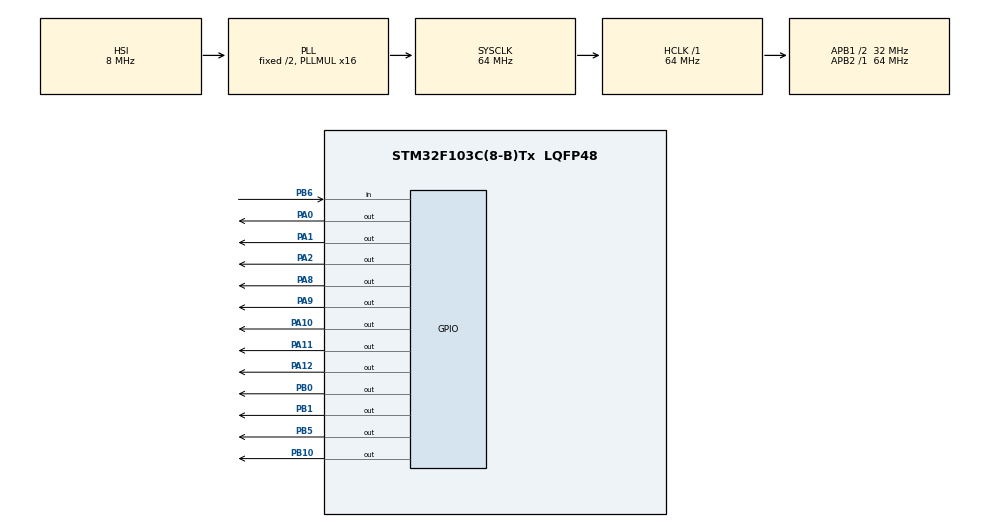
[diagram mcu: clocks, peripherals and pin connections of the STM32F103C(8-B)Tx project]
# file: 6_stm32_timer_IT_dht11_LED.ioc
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Mcu.Family=STM32F1
Mcu.Name=STM32F103C(8-B)Tx
Mcu.Package=LQFP48
NVIC.PriorityGroup=NVIC_PRIORITYGROUP_4
NVIC.TIM2_IRQn=true\:0\:0\:false\:false\:true\:true\:true\:true
PA0-WKUP.Signal=GPIO_Output
PA1.Signal=GPIO_Output
PA10.Signal=GPIO_Output
PA11.Signal=GPIO_Output
PA12.Signal=GPIO_Output
PA13.Mode=Serial_Wire
PA13.Signal=SYS_JTMS-SWDIO
PA14.Mode=Serial_Wire
PA14.Signal=SYS_JTCK-SWCLK
PA2.Signal=GPIO_Output
PA8.Signal=GPIO_Output
PA9.Signal=GPIO_Output
PB0.Signal=GPIO_Output
PB1.Signal=GPIO_Output
PB10.Signal=GPIO_Output
PB5.GPIO_PuPd=GPIO_PULLUP
PB5.Signal=GPIO_Output
PB6.Signal=GPIO_Input
ProjectManager.HeapSize=0x200
ProjectManager.StackSize=0x400
ProjectManager.TargetToolchain=MDK-ARM V5.32
RCC.AHBFreq_Value=64000000
RCC.APB1CLKDivider=RCC_HCLK_DIV2
RCC.APB1Freq_Value=32000000
RCC.APB1TimFreq_Value=64000000
RCC.APB2Freq_Value=64000000
RCC.APB2TimFreq_Value=64000000
RCC.HCLKFreq_Value=64000000
RCC.PLLMUL=RCC_PLL_MUL16
RCC.SYSCLKFreq_VALUE=64000000
RCC.SYSCLKSource=RCC_SYSCLKSOURCE_PLLCLK
RCC.USBFreq_Value=64000000
TIM2.Prescaler=63
TIM3.Period=999
TIM3.Prescaler=63999
VP_TIM2_VS_ClockSourceINT.Mode=Internal
VP_TIM3_VS_ClockSourceINT.Mode=Internal
board=custom

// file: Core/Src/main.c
/* USER CODE BEGIN Header */
/**
  ******************************************************************************
  * @file           : main.c
  * @brief          : Main program body
  ******************************************************************************
  * @attention
  *
  * Copyright (c) 2026 STMicroelectronics.
  * All rights reserved.
  *
  * This software is licensed under terms that can be found in the LICENSE file
  * in the root directory of this software component.
  * If no LICENSE file comes with this software, it is provided AS-IS.
  *
  ******************************************************************************
  */
/* USER CODE END Header */
#include "main.h"

/* USER CODE BEGIN Includes */
#include "MyLcdLib.h"
#include <stdio.h>
/* USER CODE END Includes */

TIM_HandleTypeDef htim2;
TIM_HandleTypeDef htim3;

void SystemClock_Config(void);
static void MX_GPIO_Init(void);
static void MX_TIM2_Init(void);
static void MX_TIM3_Init(void);

/* USER CODE BEGIN 0 */

void my_delay_us(uint16_t us);
void setPinToGPIO_output(GPIO_TypeDef *port, uint16_t pin);

void my_delay_us(uint16_t us) {
	HAL_TIM_Base_Start(&htim2);

	htim2.Instance->CNT = 0;
	while(htim2.Instance->CNT < us) {
		// waiting
	}

	HAL_TIM_Base_Stop(&htim2);
}

void setPinToGPIO_output(GPIO_TypeDef *port, uint16_t pin) {
	GPIO_InitTypeDef GPIO_InitStruct = {0};

	/*Configure GPIO pin*/
  GPIO_InitStruct.Pin = pin;
  GPIO_InitStruct.Mode = GPIO_MODE_OUTPUT_PP;
  GPIO_InitStruct.Pull = GPIO_PULLUP;
  GPIO_InitStruct.Speed = GPIO_SPEED_FREQ_LOW;
  HAL_GPIO_Init(port, &GPIO_InitStruct);
}

void setPinToGPIO_input(GPIO_TypeDef *port, uint16_t pin) {
	GPIO_InitTypeDef GPIO_InitStruct = {0};

	/*Configure GPIO pin*/
  GPIO_InitStruct.Pin = pin;
  GPIO_InitStruct.Mode = GPIO_MODE_INPUT;
  GPIO_InitStruct.Pull = GPIO_PULLUP;
  HAL_GPIO_Init(port, &GPIO_InitStruct);
}

void DHT11_Start1() {
  setPinToGPIO_output(GPIOB, GPIO_PIN_5);

  HAL_GPIO_WritePin(GPIOB, GPIO_PIN_5, 1);
  HAL_GPIO_WritePin(GPIOB, GPIO_PIN_5, 0); HAL_Delay(20);
	HAL_GPIO_WritePin(GPIOB, GPIO_PIN_5, 1);

  setPinToGPIO_input(GPIOB, GPIO_PIN_5);

  // ============================
  // chua co thuat toan check loi
  // ============================

  while(HAL_GPIO_ReadPin(GPIOB, GPIO_PIN_5) == 1) { } // doi = 0
  while(HAL_GPIO_ReadPin(GPIOB, GPIO_PIN_5) == 0) { } // doi = 1
  while(HAL_GPIO_ReadPin(GPIOB, GPIO_PIN_5) == 1) { } // doi = 0

  // ============================
  // 5bytes (40bits bat dau duoc truyen)
  // ============================

}

uint8_t DHT11_Start(void) {
    uint16_t timeout = 0;

    setPinToGPIO_output(GPIOB, GPIO_PIN_5);
    HAL_GPIO_WritePin(GPIOB, GPIO_PIN_5, 1);
    HAL_GPIO_WritePin(GPIOB, GPIO_PIN_5, 0);
    HAL_Delay(20);
    HAL_GPIO_WritePin(GPIOB, GPIO_PIN_5, 1);

    setPinToGPIO_input(GPIOB, GPIO_PIN_5);

    // Ch? chân PB5 v? 0 (Timeout 100us)
    timeout = 0;
    while(HAL_GPIO_ReadPin(GPIOB, GPIO_PIN_5) == 1) {
        my_delay_us(1);
        if(++timeout > 100) return 0; // Thoát ngay n?u b? k?t
    }

    // Ch? chân PB5 lên 1 (Timeout 100us)
    timeout = 0;
    while(HAL_GPIO_ReadPin(GPIOB, GPIO_PIN_5) == 0) {
        my_delay_us(1);
        if(++timeout > 100) return 0; // Thoát ngay n?u b? k?t
    }

    // Ch? chân PB5 v? 0 d? b?t d?u nh?n d? li?u (Timeout 100us)
    timeout = 0;
    while(HAL_GPIO_ReadPin(GPIOB, GPIO_PIN_5) == 1) {
        my_delay_us(1);
        if(++timeout > 100) return 0; // Thoát ngay n?u b? k?t
    }

    return 1; // Kh?i t?o thành công
}

uint8_t DHT11_Read_byte1() {
  uint8_t res = 0;

  for(int i = 0; i < 8; ++i) {
    while(HAL_GPIO_ReadPin(GPIOB, GPIO_PIN_5) == 0) {};
    my_delay_us(50);
    if(HAL_GPIO_ReadPin(GPIOB, GPIO_PIN_5) == 1) {
      // bit 1
      res = (res << 1) | (1 << 0);
			while(HAL_GPIO_ReadPin(GPIOB, GPIO_PIN_5) == 1) {};
    } else {
      // bit 0
      res = (res << 1) & ~(1 << 0);
    }
  }

  return res;
}

uint8_t DHT11_Read_byte(void) {
    uint8_t res = 0;

    for(int i = 0; i < 8; ++i) {
        uint16_t timeout = 0;

        // Ch? tín hi?u lên 1
        while(HAL_GPIO_ReadPin(GPIOB, GPIO_PIN_5) == 0) {
            my_delay_us(1);
            if(++timeout > 100) break;
        }

        my_delay_us(50);

        if(HAL_GPIO_ReadPin(GPIOB, GPIO_PIN_5) == 1) {
            res = (res << 1) | 1;

            // Ch? tín hi?u v? 0
            timeout = 0;
            while(HAL_GPIO_ReadPin(GPIOB, GPIO_PIN_5) == 1) {
                my_delay_us(1);
                if(++timeout > 100) break;
            }
        } else {
            res = (res << 1);
        }
    }

    return res;
}

volatile uint8_t int_Tem = 0
          , int_Hum = 0
          , float_Tem = 0
          , float_Hum = 0
          , checkSum = 0;

void DHT11_Handler1() {
  DHT11_Start();

  // Data format:
  //          8bit integral RH data
  //        + 8bit decimal RH data
  //        + 8bit integral T data
  //        + 8bit decimal T data
  //        + 8bit check sum.

  int_Hum   = DHT11_Read_byte();
  float_Hum = DHT11_Read_byte();
  int_Tem   = DHT11_Read_byte();
  float_Tem = DHT11_Read_byte();
  checkSum  = DHT11_Read_byte();

}

void DHT11_Handler(void) {
    // Ch? d?c d? li?u khi DHT11 ph?n h?i thành công (tr? v? 1)
    if (DHT11_Start() == 1) {
        int_Hum   = DHT11_Read_byte();
        float_Hum = DHT11_Read_byte();
        int_Tem   = DHT11_Read_byte();
        float_Tem = DHT11_Read_byte();
        checkSum  = DHT11_Read_byte();
    }
}

// Ham xu ly ngat tu dong khi TIM3 dem het thoi gian (ARR)
void HAL_TIM_PeriodElapsedCallback(TIM_HandleTypeDef *htim)
{
    if (htim->Instance == TIM3)
    {
        // Viet code thuc thi dinh ky khi ngat tai day
        // Vi du: Dao trang thai 1 chan GPIO hoac tang bien dem
    }
}

/* USER CODE END 0 */

int main(void)
{

  /* MCU Configuration--------------------------------------------------------*/

  /* Reset of all peripherals, Initializes the Flash interface and the Systick. */
  HAL_Init();

  /* Configure the system clock */
  SystemClock_Config();

  /* Initialize all configured peripherals */
  MX_GPIO_Init();
  MX_TIM2_Init();
  MX_TIM3_Init();
  /* USER CODE BEGIN 2 */

	// Bat Ngat Timer 3
  HAL_TIM_Base_Start_IT(&htim3);

	LCD_Config_t myLcd = {
    {GPIOA, GPIO_PIN_0},
    {GPIOA, GPIO_PIN_1},
    {GPIOA, GPIO_PIN_2},
    {GPIOA, GPIO_PIN_8},
    {GPIOA, GPIO_PIN_9},
    {GPIOA, GPIO_PIN_10},
    {GPIOA, GPIO_PIN_11},
    {GPIOA, GPIO_PIN_12},
    {GPIOB, GPIO_PIN_0},
    {GPIOB, GPIO_PIN_1},
    {GPIOB, GPIO_PIN_10}
  };

	LCD_init(&myLcd);

	char ndoStr[16];
	char dAmStr[16];

  /* USER CODE END 2 */

  /* Infinite loop */
  while (1)
  {

    /* USER CODE BEGIN 3 */

		DHT11_Handler();

		sprintf(ndoStr, "NDo: %u.%u C  ", int_Tem, float_Tem);
    sprintf(dAmStr, "DAm: %u.%u %%  ", int_Hum, float_Hum);

		LCD_SetCursor(&myLcd, 0, 0);
    LCD_Print(&myLcd, ndoStr);

		LCD_SetCursor(&myLcd, 1, 0);
    LCD_Print(&myLcd, dAmStr);

		HAL_Delay(1000);

  }
  /* USER CODE END 3 */
}

void SystemClock_Config(void)
{
  RCC_OscInitTypeDef RCC_OscInitStruct = {0};
  RCC_ClkInitTypeDef RCC_ClkInitStruct = {0};

  /** Initializes the RCC Oscillators according to the specified parameters
  * in the RCC_OscInitTypeDef structure.
  */
  RCC_OscInitStruct.OscillatorType = RCC_OSCILLATORTYPE_HSI;
  RCC_OscInitStruct.HSIState = RCC_HSI_ON;
  RCC_OscInitStruct.HSICalibrationValue = RCC_HSICALIBRATION_DEFAULT;
  RCC_OscInitStruct.PLL.PLLState = RCC_PLL_ON;
  RCC_OscInitStruct.PLL.PLLSource = RCC_PLLSOURCE_HSI_DIV2;
  RCC_OscInitStruct.PLL.PLLMUL = RCC_PLL_MUL16;
  if (HAL_RCC_OscConfig(&RCC_OscInitStruct) != HAL_OK)
  {
    Error_Handler();
  }

  /** Initializes the CPU, AHB and APB buses clocks
  */
  RCC_ClkInitStruct.ClockType = RCC_CLOCKTYPE_HCLK|RCC_CLOCKTYPE_SYSCLK
                              |RCC_CLOCKTYPE_PCLK1|RCC_CLOCKTYPE_PCLK2;
  RCC_ClkInitStruct.SYSCLKSource = RCC_SYSCLKSOURCE_PLLCLK;
  RCC_ClkInitStruct.AHBCLKDivider = RCC_SYSCLK_DIV1;
  RCC_ClkInitStruct.APB1CLKDivider = RCC_HCLK_DIV2;
  RCC_ClkInitStruct.APB2CLKDivider = RCC_HCLK_DIV1;

  if (HAL_RCC_ClockConfig(&RCC_ClkInitStruct, FLASH_LATENCY_2) != HAL_OK)
  {
    Error_Handler();
  }
}

static void MX_TIM2_Init(void)
{

  TIM_ClockConfigTypeDef sClockSourceConfig = {0};
  TIM_MasterConfigTypeDef sMasterConfig = {0};

  htim2.Instance = TIM2;
  htim2.Init.Prescaler = 63;
  htim2.Init.CounterMode = TIM_COUNTERMODE_UP;
  htim2.Init.Period = 65535;
  htim2.Init.ClockDivision = TIM_CLOCKDIVISION_DIV1;
  htim2.Init.AutoReloadPreload = TIM_AUTORELOAD_PRELOAD_DISABLE;
  if (HAL_TIM_Base_Init(&htim2) != HAL_OK)
  {
    Error_Handler();
  }
  sClockSourceConfig.ClockSource = TIM_CLOCKSOURCE_INTERNAL;
  if (HAL_TIM_ConfigClockSource(&htim2, &sClockSourceConfig) != HAL_OK)
  {
    Error_Handler();
  }
  sMasterConfig.MasterOutputTrigger = TIM_TRGO_RESET;
  sMasterConfig.MasterSlaveMode = TIM_MASTERSLAVEMODE_DISABLE;
  if (HAL_TIMEx_MasterConfigSynchronization(&htim2, &sMasterConfig) != HAL_OK)
  {
    Error_Handler();
  }

}

static void MX_TIM3_Init(void)
{

  TIM_ClockConfigTypeDef sClockSourceConfig = {0};
  TIM_MasterConfigTypeDef sMasterConfig = {0};

  htim3.Instance = TIM3;
  htim3.Init.Prescaler = 63999;
  htim3.Init.CounterMode = TIM_COUNTERMODE_UP;
  htim3.Init.Period = 999;
  htim3.Init.ClockDivision = TIM_CLOCKDIVISION_DIV1;
  htim3.Init.AutoReloadPreload = TIM_AUTORELOAD_PRELOAD_DISABLE;
  if (HAL_TIM_Base_Init(&htim3) != HAL_OK)
  {
    Error_Handler();
  }
  sClockSourceConfig.ClockSource = TIM_CLOCKSOURCE_INTERNAL;
  if (HAL_TIM_ConfigClockSource(&htim3, &sClockSourceConfig) != HAL_OK)
  {
    Error_Handler();
  }
  sMasterConfig.MasterOutputTrigger = TIM_TRGO_RESET;
  sMasterConfig.MasterSlaveMode = TIM_MASTERSLAVEMODE_DISABLE;
  if (HAL_TIMEx_MasterConfigSynchronization(&htim3, &sMasterConfig) != HAL_OK)
  {
    Error_Handler();
  }

}

static void MX_GPIO_Init(void)
{
  GPIO_InitTypeDef GPIO_InitStruct = {0};

  /* GPIO Ports Clock Enable */
  __HAL_RCC_GPIOA_CLK_ENABLE();
  __HAL_RCC_GPIOB_CLK_ENABLE();

  /*Configure GPIO pin Output Level */
  HAL_GPIO_WritePin(GPIOA, GPIO_PIN_0|GPIO_PIN_1|GPIO_PIN_2|GPIO_PIN_8
                          |GPIO_PIN_9|GPIO_PIN_10|GPIO_PIN_11|GPIO_PIN_12, GPIO_PIN_RESET);

  /*Configure GPIO pin Output Level */
  HAL_GPIO_WritePin(GPIOB, GPIO_PIN_0|GPIO_PIN_1|GPIO_PIN_10|GPIO_PIN_5, GPIO_PIN_RESET);

  /*Configure GPIO pins : PA0 PA1 PA2 PA8
                           PA9 PA10 PA11 PA12 */
  GPIO_InitStruct.Pin = GPIO_PIN_0|GPIO_PIN_1|GPIO_PIN_2|GPIO_PIN_8
                          |GPIO_PIN_9|GPIO_PIN_10|GPIO_PIN_11|GPIO_PIN_12;
  GPIO_InitStruct.Mode = GPIO_MODE_OUTPUT_PP;
  GPIO_InitStruct.Pull = GPIO_NOPULL;
  GPIO_InitStruct.Speed = GPIO_SPEED_FREQ_LOW;
  HAL_GPIO_Init(GPIOA, &GPIO_InitStruct);

  /*Configure GPIO pins : PB0 PB1 PB10 */
  GPIO_InitStruct.Pin = GPIO_PIN_0|GPIO_PIN_1|GPIO_PIN_10;
  GPIO_InitStruct.Mode = GPIO_MODE_OUTPUT_PP;
  GPIO_InitStruct.Pull = GPIO_NOPULL;
  GPIO_InitStruct.Speed = GPIO_SPEED_FREQ_LOW;
  HAL_GPIO_Init(GPIOB, &GPIO_InitStruct);

  /*Configure GPIO pin : PB5 */
  GPIO_InitStruct.Pin = GPIO_PIN_5;
  GPIO_InitStruct.Mode = GPIO_MODE_OUTPUT_PP;
  GPIO_InitStruct.Pull = GPIO_PULLUP;
  GPIO_InitStruct.Speed = GPIO_SPEED_FREQ_LOW;
  HAL_GPIO_Init(GPIOB, &GPIO_InitStruct);

  /*Configure GPIO pin : PB6 */
  GPIO_InitStruct.Pin = GPIO_PIN_6;
  GPIO_InitStruct.Mode = GPIO_MODE_INPUT;
  GPIO_InitStruct.Pull = GPIO_NOPULL;
  HAL_GPIO_Init(GPIOB, &GPIO_InitStruct);

}

void Error_Handler(void)
{
  __disable_irq();
  while (1)
  {
  }
}
